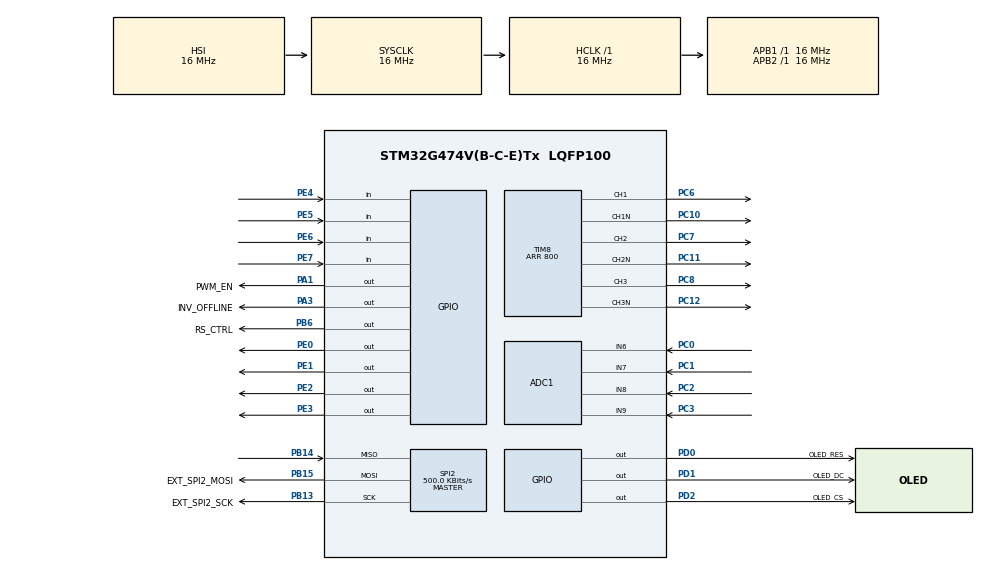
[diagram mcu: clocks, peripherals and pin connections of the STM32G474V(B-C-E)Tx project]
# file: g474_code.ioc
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ADC1.Channel-1\#ChannelRegularConversion=ADC_CHANNEL_6
ADC1.Channel-2\#ChannelRegularConversion=ADC_CHANNEL_7
ADC1.Channel-3\#ChannelRegularConversion=ADC_CHANNEL_8
ADC1.ClockPrescaler=ADC_CLOCK_SYNC_PCLK_DIV1
ADC1.ContinuousConvMode=DISABLE
ADC1.DMAContinuousRequests=ENABLE
ADC1.ExternalTrigConv=ADC_EXTERNALTRIG_T8_TRGO
ADC1.ExternalTrigConvEdge=ADC_EXTERNALTRIGCONVEDGE_RISING
ADC1.NbrOfConversion=3
ADC1.NbrOfConversionFlag=1
ADC1.OffsetNumber-1\#ChannelRegularConversion=ADC_OFFSET_NONE
ADC1.OffsetNumber-2\#ChannelRegularConversion=ADC_OFFSET_NONE
ADC1.OffsetNumber-3\#ChannelRegularConversion=ADC_OFFSET_NONE
ADC1.Rank-1\#ChannelRegularConversion=1
ADC1.Rank-2\#ChannelRegularConversion=2
ADC1.Rank-3\#ChannelRegularConversion=3
ADC1.SamplingTime-1\#ChannelRegularConversion=ADC_SAMPLETIME_47CYCLES_5
ADC1.SamplingTime-2\#ChannelRegularConversion=ADC_SAMPLETIME_47CYCLES_5
ADC1.SamplingTime-3\#ChannelRegularConversion=ADC_SAMPLETIME_47CYCLES_5
ADC1.master=1
Dma.ADC1.0.Direction=DMA_PERIPH_TO_MEMORY
Dma.ADC1.0.EventEnable=DISABLE
Dma.ADC1.0.Instance=DMA1_Channel1
Dma.ADC1.0.MemDataAlignment=DMA_MDATAALIGN_HALFWORD
Dma.ADC1.0.MemInc=DMA_MINC_ENABLE
Dma.ADC1.0.Mode=DMA_CIRCULAR
Dma.ADC1.0.PeriphDataAlignment=DMA_PDATAALIGN_HALFWORD
Dma.ADC1.0.PeriphInc=DMA_PINC_DISABLE
Dma.ADC1.0.Polarity=HAL_DMAMUX_REQ_GEN_RISING
Dma.ADC1.0.Priority=DMA_PRIORITY_LOW
Dma.ADC1.0.RequestNumber=1
Dma.ADC1.0.SignalID=NONE
Dma.ADC1.0.SyncEnable=DISABLE
Dma.ADC1.0.SyncPolarity=HAL_DMAMUX_SYNC_NO_EVENT
Dma.ADC1.0.SyncRequestNumber=1
Dma.ADC1.0.SyncSignalID=NONE
Dma.Request0=ADC1
Mcu.Family=STM32G4
Mcu.Name=STM32G474V(B-C-E)Tx
Mcu.Package=LQFP100
NVIC.ADC1_2_IRQn=true\:1\:0\:false\:false\:true\:false\:true\:true
NVIC.DMA1_Channel1_IRQn=true\:3\:0\:false\:false\:true\:false\:true\:true
NVIC.PriorityGroup=NVIC_PRIORITYGROUP_4
NVIC.TIM5_IRQn=true\:2\:0\:false\:false\:true\:false\:true\:true
PA1.GPIO_Label=PWM_EN
PA1.Signal=GPIO_Output
PA13.Mode=Serial_Wire
PA13.Signal=SYS_JTMS-SWDIO
PA14.Mode=Serial_Wire
PA14.Signal=SYS_JTCK-SWCLK
PA3.GPIO_Label=INV_OFFLINE
PA3.PinState=GPIO_PIN_SET
PA3.Signal=GPIO_Output
PB13.GPIO_Label=EXT_SPI2_SCK
PB13.Mode=Full_Duplex_Master
PB13.Signal=SPI2_SCK
PB14.Mode=Full_Duplex_Master
PB14.Signal=SPI2_MISO
PB15.GPIO_Label=EXT_SPI2_MOSI
PB15.Mode=Full_Duplex_Master
PB15.Signal=SPI2_MOSI
PB6.GPIO_Label=RS_CTRL
PB6.Signal=GPIO_Output
PC0.Mode=IN6-Single-Ended
PC0.Signal=ADC1_IN6
PC1.Mode=IN7-Single-Ended
PC1.Signal=ADC1_IN7
PC10.Mode=PWM Generation1 CH1 CH1N
PC10.Signal=TIM8_CH1N
PC11.Mode=PWM Generation2 CH2 CH2N
PC11.Signal=TIM8_CH2N
PC12.Mode=PWM Generation3 CH3 CH3N
PC12.Signal=TIM8_CH3N
PC14-OSC32_IN.Mode=LSE-External-Oscillator
PC14-OSC32_IN.Signal=RCC_OSC32_IN
PC15-OSC32_OUT.Mode=LSE-External-Oscillator
PC15-OSC32_OUT.Signal=RCC_OSC32_OUT
PC2.Mode=IN8-Single-Ended
PC2.Signal=ADC1_IN8
PC3.Mode=IN9-Single-Ended
PC3.Signal=ADC1_IN9
PC6.Signal=S_TIM8_CH1
PC7.Signal=S_TIM8_CH2
PC8.Signal=S_TIM8_CH3
PD0.GPIO_Label=OLED_RES
PD0.GPIO_PuPd=GPIO_PULLUP
PD0.GPIO_Speed=GPIO_SPEED_FREQ_VERY_HIGH
PD0.Signal=GPIO_Output
PD1.GPIO_Label=OLED_DC
PD1.GPIO_PuPd=GPIO_PULLUP
PD1.GPIO_Speed=GPIO_SPEED_FREQ_VERY_HIGH
PD1.Signal=GPIO_Output
PD2.GPIO_Label=OLED_CS
PD2.GPIO_PuPd=GPIO_PULLUP
PD2.GPIO_Speed=GPIO_SPEED_FREQ_VERY_HIGH
PD2.Signal=GPIO_Output
PE0.GPIO_ModeDefaultOutputPP=GPIO_MODE_OUTPUT_OD
PE0.PinState=GPIO_PIN_SET
PE0.Signal=GPIO_Output
PE1.GPIO_ModeDefaultOutputPP=GPIO_MODE_OUTPUT_OD
PE1.PinState=GPIO_PIN_SET
PE1.Signal=GPIO_Output
PE2.GPIO_ModeDefaultOutputPP=GPIO_MODE_OUTPUT_OD
PE2.PinState=GPIO_PIN_SET
PE2.Signal=GPIO_Output
PE3.GPIO_ModeDefaultOutputPP=GPIO_MODE_OUTPUT_OD
PE3.PinState=GPIO_PIN_SET
PE3.Signal=GPIO_Output
PE4.GPIO_PuPd=GPIO_PULLUP
PE4.Signal=GPIO_Input
PE5.GPIO_PuPd=GPIO_PULLUP
PE5.Signal=GPIO_Input
PE6.GPIO_PuPd=GPIO_PULLUP
PE6.Signal=GPIO_Input
PE7.GPIO_PuPd=GPIO_PULLUP
PE7.Signal=GPIO_Input
PF0-OSC_IN.Mode=HSE-External-Oscillator
PF0-OSC_IN.Signal=RCC_OSC_IN
PF1-OSC_OUT.Mode=HSE-External-Oscillator
PF1-OSC_OUT.Signal=RCC_OSC_OUT
ProjectManager.HeapSize=0x200
ProjectManager.StackSize=0x400
ProjectManager.TargetToolchain=MDK-ARM V5.32
RCC.ADC12Freq_Value=16000000
RCC.ADC345Freq_Value=16000000
RCC.AHBFreq_Value=16000000
RCC.APB1Freq_Value=16000000
RCC.APB1TimFreq_Value=16000000
RCC.APB2Freq_Value=16000000
RCC.APB2TimFreq_Value=16000000
RCC.CortexFreq_Value=16000000
RCC.EXTERNAL_CLOCK_VALUE=12288000
RCC.HCLKFreq_Value=16000000
RCC.HSE_VALUE=8000000
RCC.HSI48_VALUE=48000000
RCC.HSI_VALUE=16000000
RCC.PLLM=RCC_PLLM_DIV4
RCC.PLLN=85
RCC.SYSCLKFreq_VALUE=16000000
RCC.USBFreq_Value=170000000
RCC.VCOOutputFreq_Value=340000000
SH.S_TIM8_CH1.0=TIM8_CH1,PWM Generation1 CH1 CH1N
SH.S_TIM8_CH2.0=TIM8_CH2,PWM Generation2 CH2 CH2N
SH.S_TIM8_CH3.0=TIM8_CH3,PWM Generation3 CH3 CH3N
SPI2.BaudRatePrescaler=SPI_BAUDRATEPRESCALER_32
SPI2.CLKPhase=SPI_PHASE_1EDGE
SPI2.CLKPolarity=SPI_POLARITY_LOW
SPI2.CalculateBaudRate=500.0 KBits/s
SPI2.DataSize=SPI_DATASIZE_8BIT
SPI2.Direction=SPI_DIRECTION_2LINES
SPI2.Mode=SPI_MODE_MASTER
SPI2.VirtualType=VM_MASTER
TIM5.AutoReloadPreload=TIM_AUTORELOAD_PRELOAD_ENABLE
TIM5.Period=888
TIM5.Prescaler=0
TIM8.AutoReloadPreload=TIM_AUTORELOAD_PRELOAD_ENABLE
TIM8.Channel-PWM\ Generation1\ CH1\ CH1N=TIM_CHANNEL_1
TIM8.Channel-PWM\ Generation2\ CH2\ CH2N=TIM_CHANNEL_2
TIM8.Channel-PWM\ Generation3\ CH3\ CH3N=TIM_CHANNEL_3
TIM8.CounterMode=TIM_COUNTERMODE_CENTERALIGNED1
TIM8.DeadTime=5
TIM8.DeadTimePreload=DISABLE
TIM8.OffStateIDLEMode=TIM_OSSI_ENABLE
TIM8.OffStateRunMode=TIM_OSSR_ENABLE
TIM8.PeriodNoDither=800
TIM8.PulseNoDither_1=400
TIM8.PulseNoDither_2=400
TIM8.PulseNoDither_3=400
TIM8.TIM_MasterOutputTrigger=TIM_TRGO_UPDATE
VP_SYS_VS_DBSignals.Mode=DisableDeadBatterySignals
VP_TIM5_VS_ClockSourceINT.Mode=Internal
VP_TIM8_VS_ClockSourceINT.Mode=Internal
board=custom

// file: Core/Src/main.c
/* USER CODE BEGIN Header */
/**
  ******************************************************************************
  * @file           : main.c
  * @brief          : Main program body
  ******************************************************************************
  * @attention
  *
  * Copyright (c) 2026 STMicroelectronics.
  * All rights reserved.
  *
  * This software is licensed under terms that can be found in the LICENSE file
  * in the root directory of this software component.
  * If no LICENSE file comes with this software, it is provided AS-IS.
  *
  ******************************************************************************
  */
/* USER CODE END Header */
#include "main.h"

/* USER CODE BEGIN Includes */
#include "oled.h"
#include "Keyboard.h"
#include "Bipolar_PWM.h"
#include "inverter_control_tools.h"
#include "inverter_menu.h"
#include "inverter_sampling.h"

/* USER CODE END Includes */

ADC_HandleTypeDef hadc1;
DMA_HandleTypeDef hdma_adc1;

SPI_HandleTypeDef hspi2;

TIM_HandleTypeDef htim5;
TIM_HandleTypeDef htim8;

void SystemClock_Config(void);
static void MX_GPIO_Init(void);
static void MX_DMA_Init(void);
static void MX_ADC1_Init(void);
static void MX_TIM5_Init(void);
static void MX_SPI2_Init(void);
static void MX_TIM8_Init(void);

int main(void)
{

  /* USER CODE BEGIN 1 */
  char key;
  uint32_t standby_tick = 0U;

  /* USER CODE END 1 */

  /* MCU Configuration--------------------------------------------------------*/

  /* Reset of all peripherals, Initializes the Flash interface and the Systick. */
  HAL_Init();

  /* Configure the system clock */
  SystemClock_Config();

  /* Initialize all configured peripherals */
  MX_GPIO_Init();
  MX_DMA_Init();
  MX_ADC1_Init();
  MX_TIM5_Init();
  MX_SPI2_Init();
  MX_TIM8_Init();
  /* USER CODE BEGIN 2 */

  OLED_Init();
  Keyboard_Init();

  /* 先校准并就绪 ADC DMA，再启动 TIM8 触发和调制，保持输出关闭。 */
  if (INV_SamplingStart() != HAL_OK) Error_Handler();
  if (INV_Init() != HAL_OK) Error_Handler();

  /* 欢迎界面（替代原工程 gImage_welcome 开机图） */
  OLED_Clear();
  OLED_ShowString(16, 8,  "INVERTER", 16);
  OLED_ShowString(16, 32, "G474 PORT", 16);
  OLED_Refresh();
  HAL_Delay(2000);

  INV_ShowStandby();
  standby_tick = HAL_GetTick();

  /* USER CODE END 2 */

  /* Infinite loop */
  while (1)
  {

    /* USER CODE BEGIN 3 */
    key = Keyboard_GetKey();
    if (key == 'A')                 /* 功率输出开关 */
    {
      if (INV_PwmFlag) INV_OutputDisable();
      else             INV_OutputEnable();
      INV_ShowStandby();
      standby_tick = HAL_GetTick();
    }
    else if (key == 'C')
    {
      INV_OutputDisable();
      INV_ShowStandby();
    }
    else if (key == 'D')            /* 进入参数菜单 */
    {
      INV_Menu_Run();
      INV_ShowStandby();
      standby_tick = HAL_GetTick();
    }

    /* 定时刷新输出命令和频率、幅度。 */
    if (HAL_GetTick() - standby_tick >= 200U)
    {
      standby_tick = HAL_GetTick();
      INV_ShowStandby();
    }
  }
  /* USER CODE END 3 */
}

void SystemClock_Config(void)
{
  RCC_OscInitTypeDef RCC_OscInitStruct = {0};
  RCC_ClkInitTypeDef RCC_ClkInitStruct = {0};

  /** Configure the main internal regulator output voltage
  */
  HAL_PWREx_ControlVoltageScaling(PWR_REGULATOR_VOLTAGE_SCALE1);

  /** Initializes the RCC Oscillators according to the specified parameters
  * in the RCC_OscInitTypeDef structure.
  */
  RCC_OscInitStruct.OscillatorType = RCC_OSCILLATORTYPE_HSI;
  RCC_OscInitStruct.HSIState = RCC_HSI_ON;
  RCC_OscInitStruct.HSICalibrationValue = RCC_HSICALIBRATION_DEFAULT;
  RCC_OscInitStruct.PLL.PLLState = RCC_PLL_NONE;
  if (HAL_RCC_OscConfig(&RCC_OscInitStruct) != HAL_OK)
  {
    Error_Handler();
  }

  /** Initializes the CPU, AHB and APB buses clocks
  */
  RCC_ClkInitStruct.ClockType = RCC_CLOCKTYPE_HCLK|RCC_CLOCKTYPE_SYSCLK
                              |RCC_CLOCKTYPE_PCLK1|RCC_CLOCKTYPE_PCLK2;
  RCC_ClkInitStruct.SYSCLKSource = RCC_SYSCLKSOURCE_HSI;
  RCC_ClkInitStruct.AHBCLKDivider = RCC_SYSCLK_DIV1;
  RCC_ClkInitStruct.APB1CLKDivider = RCC_HCLK_DIV1;
  RCC_ClkInitStruct.APB2CLKDivider = RCC_HCLK_DIV1;

  if (HAL_RCC_ClockConfig(&RCC_ClkInitStruct, FLASH_LATENCY_0) != HAL_OK)
  {
    Error_Handler();
  }
}

static void MX_ADC1_Init(void)
{

  ADC_MultiModeTypeDef multimode = {0};
  ADC_ChannelConfTypeDef sConfig = {0};

  /** Common config
  */
  hadc1.Instance = ADC1;
  hadc1.Init.ClockPrescaler = ADC_CLOCK_SYNC_PCLK_DIV1;
  hadc1.Init.Resolution = ADC_RESOLUTION_12B;
  hadc1.Init.DataAlign = ADC_DATAALIGN_RIGHT;
  hadc1.Init.GainCompensation = 0;
  hadc1.Init.ScanConvMode = ADC_SCAN_ENABLE;
  hadc1.Init.EOCSelection = ADC_EOC_SINGLE_CONV;
  hadc1.Init.LowPowerAutoWait = DISABLE;
  hadc1.Init.ContinuousConvMode = DISABLE;
  hadc1.Init.NbrOfConversion = 3;
  hadc1.Init.DiscontinuousConvMode = DISABLE;
  hadc1.Init.ExternalTrigConv = ADC_EXTERNALTRIG_T8_TRGO;
  hadc1.Init.ExternalTrigConvEdge = ADC_EXTERNALTRIGCONVEDGE_RISING;
  hadc1.Init.DMAContinuousRequests = ENABLE;
  hadc1.Init.Overrun = ADC_OVR_DATA_PRESERVED;
  hadc1.Init.OversamplingMode = DISABLE;
  if (HAL_ADC_Init(&hadc1) != HAL_OK)
  {
    Error_Handler();
  }

  /** Configure the ADC multi-mode
  */
  multimode.Mode = ADC_MODE_INDEPENDENT;
  if (HAL_ADCEx_MultiModeConfigChannel(&hadc1, &multimode) != HAL_OK)
  {
    Error_Handler();
  }

  /** Configure Regular Channel
  */
  sConfig.Channel = ADC_CHANNEL_6;
  sConfig.Rank = ADC_REGULAR_RANK_1;
  sConfig.SamplingTime = ADC_SAMPLETIME_47CYCLES_5;
  sConfig.SingleDiff = ADC_SINGLE_ENDED;
  sConfig.OffsetNumber = ADC_OFFSET_NONE;
  sConfig.Offset = 0;
  if (HAL_ADC_ConfigChannel(&hadc1, &sConfig) != HAL_OK)
  {
    Error_Handler();
  }

  /** Configure Regular Channel
  */
  sConfig.Channel = ADC_CHANNEL_7;
  sConfig.Rank = ADC_REGULAR_RANK_2;
  if (HAL_ADC_ConfigChannel(&hadc1, &sConfig) != HAL_OK)
  {
    Error_Handler();
  }

  /** Configure Regular Channel
  */
  sConfig.Channel = ADC_CHANNEL_8;
  sConfig.Rank = ADC_REGULAR_RANK_3;
  if (HAL_ADC_ConfigChannel(&hadc1, &sConfig) != HAL_OK)
  {
    Error_Handler();
  }
  /* USER CODE BEGIN ADC1_Init 2 */

  HAL_NVIC_SetPriority(ADC1_2_IRQn, 1, 0);
  HAL_NVIC_EnableIRQ(ADC1_2_IRQn);

  /* USER CODE END ADC1_Init 2 */

}

static void MX_SPI2_Init(void)
{

  /* SPI2 parameter configuration*/
  hspi2.Instance = SPI2;
  hspi2.Init.Mode = SPI_MODE_MASTER;
  hspi2.Init.Direction = SPI_DIRECTION_2LINES;
  hspi2.Init.DataSize = SPI_DATASIZE_8BIT;
  hspi2.Init.CLKPolarity = SPI_POLARITY_LOW;
  hspi2.Init.CLKPhase = SPI_PHASE_1EDGE;
  hspi2.Init.NSS = SPI_NSS_SOFT;
  hspi2.Init.BaudRatePrescaler = SPI_BAUDRATEPRESCALER_32;
  hspi2.Init.FirstBit = SPI_FIRSTBIT_MSB;
  hspi2.Init.TIMode = SPI_TIMODE_DISABLE;
  hspi2.Init.CRCCalculation = SPI_CRCCALCULATION_DISABLE;
  hspi2.Init.CRCPolynomial = 7;
  hspi2.Init.CRCLength = SPI_CRC_LENGTH_DATASIZE;
  hspi2.Init.NSSPMode = SPI_NSS_PULSE_ENABLE;
  if (HAL_SPI_Init(&hspi2) != HAL_OK)
  {
    Error_Handler();
  }

}

static void MX_TIM5_Init(void)
{

  TIM_ClockConfigTypeDef sClockSourceConfig = {0};
  TIM_MasterConfigTypeDef sMasterConfig = {0};

  htim5.Instance = TIM5;
  htim5.Init.Prescaler = 0;
  htim5.Init.CounterMode = TIM_COUNTERMODE_UP;
  htim5.Init.Period = 888;
  htim5.Init.ClockDivision = TIM_CLOCKDIVISION_DIV1;
  htim5.Init.AutoReloadPreload = TIM_AUTORELOAD_PRELOAD_ENABLE;
  if (HAL_TIM_Base_Init(&htim5) != HAL_OK)
  {
    Error_Handler();
  }
  sClockSourceConfig.ClockSource = TIM_CLOCKSOURCE_INTERNAL;
  if (HAL_TIM_ConfigClockSource(&htim5, &sClockSourceConfig) != HAL_OK)
  {
    Error_Handler();
  }
  sMasterConfig.MasterOutputTrigger = TIM_TRGO_RESET;
  sMasterConfig.MasterSlaveMode = TIM_MASTERSLAVEMODE_DISABLE;
  if (HAL_TIMEx_MasterConfigSynchronization(&htim5, &sMasterConfig) != HAL_OK)
  {
    Error_Handler();
  }

}

static void MX_TIM8_Init(void)
{

  TIM_ClockConfigTypeDef sClockSourceConfig = {0};
  TIM_MasterConfigTypeDef sMasterConfig = {0};
  TIM_OC_InitTypeDef sConfigOC = {0};
  TIM_BreakDeadTimeConfigTypeDef sBreakDeadTimeConfig = {0};

  htim8.Instance = TIM8;
  htim8.Init.Prescaler = 0;
  htim8.Init.CounterMode = TIM_COUNTERMODE_CENTERALIGNED1;
  htim8.Init.Period = 800;
  htim8.Init.ClockDivision = TIM_CLOCKDIVISION_DIV1;
  htim8.Init.RepetitionCounter = 0;
  htim8.Init.AutoReloadPreload = TIM_AUTORELOAD_PRELOAD_ENABLE;
  if (HAL_TIM_Base_Init(&htim8) != HAL_OK)
  {
    Error_Handler();
  }
  sClockSourceConfig.ClockSource = TIM_CLOCKSOURCE_INTERNAL;
  if (HAL_TIM_ConfigClockSource(&htim8, &sClockSourceConfig) != HAL_OK)
  {
    Error_Handler();
  }
  if (HAL_TIM_PWM_Init(&htim8) != HAL_OK)
  {
    Error_Handler();
  }
  sMasterConfig.MasterOutputTrigger = TIM_TRGO_UPDATE;
  sMasterConfig.MasterOutputTrigger2 = TIM_TRGO2_RESET;
  sMasterConfig.MasterSlaveMode = TIM_MASTERSLAVEMODE_DISABLE;
  if (HAL_TIMEx_MasterConfigSynchronization(&htim8, &sMasterConfig) != HAL_OK)
  {
    Error_Handler();
  }
  sConfigOC.OCMode = TIM_OCMODE_PWM1;
  sConfigOC.Pulse = 400;
  sConfigOC.OCPolarity = TIM_OCPOLARITY_HIGH;
  sConfigOC.OCNPolarity = TIM_OCNPOLARITY_HIGH;
  sConfigOC.OCFastMode = TIM_OCFAST_DISABLE;
  sConfigOC.OCIdleState = TIM_OCIDLESTATE_RESET;
  sConfigOC.OCNIdleState = TIM_OCNIDLESTATE_RESET;
  if (HAL_TIM_PWM_ConfigChannel(&htim8, &sConfigOC, TIM_CHANNEL_1) != HAL_OK)
  {
    Error_Handler();
  }
  if (HAL_TIM_PWM_ConfigChannel(&htim8, &sConfigOC, TIM_CHANNEL_2) != HAL_OK)
  {
    Error_Handler();
  }
  if (HAL_TIM_PWM_ConfigChannel(&htim8, &sConfigOC, TIM_CHANNEL_3) != HAL_OK)
  {
    Error_Handler();
  }
  sBreakDeadTimeConfig.OffStateRunMode = TIM_OSSR_ENABLE;
  sBreakDeadTimeConfig.OffStateIDLEMode = TIM_OSSI_ENABLE;
  sBreakDeadTimeConfig.LockLevel = TIM_LOCKLEVEL_OFF;
  sBreakDeadTimeConfig.DeadTime = 5;
  sBreakDeadTimeConfig.BreakState = TIM_BREAK_DISABLE;
  sBreakDeadTimeConfig.BreakPolarity = TIM_BREAKPOLARITY_HIGH;
  sBreakDeadTimeConfig.BreakFilter = 0;
  sBreakDeadTimeConfig.BreakAFMode = TIM_BREAK_AFMODE_INPUT;
  sBreakDeadTimeConfig.Break2State = TIM_BREAK2_DISABLE;
  sBreakDeadTimeConfig.Break2Polarity = TIM_BREAK2POLARITY_HIGH;
  sBreakDeadTimeConfig.Break2Filter = 0;
  sBreakDeadTimeConfig.Break2AFMode = TIM_BREAK_AFMODE_INPUT;
  sBreakDeadTimeConfig.AutomaticOutput = TIM_AUTOMATICOUTPUT_DISABLE;
  if (HAL_TIMEx_ConfigBreakDeadTime(&htim8, &sBreakDeadTimeConfig) != HAL_OK)
  {
    Error_Handler();
  }
  HAL_TIM_MspPostInit(&htim8);

}

static void MX_DMA_Init(void)
{

  /* DMA controller clock enable */
  __HAL_RCC_DMAMUX1_CLK_ENABLE();
  __HAL_RCC_DMA1_CLK_ENABLE();

  /* DMA interrupt init */
  /* DMA1_Channel1_IRQn interrupt configuration */
  HAL_NVIC_SetPriority(DMA1_Channel1_IRQn, 3, 0);
  HAL_NVIC_EnableIRQ(DMA1_Channel1_IRQn);

}

static void MX_GPIO_Init(void)
{
  GPIO_InitTypeDef GPIO_InitStruct = {0};

  /* GPIO Ports Clock Enable */
  __HAL_RCC_GPIOE_CLK_ENABLE();
  __HAL_RCC_GPIOC_CLK_ENABLE();
  __HAL_RCC_GPIOF_CLK_ENABLE();
  __HAL_RCC_GPIOA_CLK_ENABLE();
  __HAL_RCC_GPIOB_CLK_ENABLE();
  __HAL_RCC_GPIOD_CLK_ENABLE();

  /*Configure GPIO pin Output Level */
  HAL_GPIO_WritePin(GPIOE, GPIO_PIN_2|GPIO_PIN_3|GPIO_PIN_0|GPIO_PIN_1, GPIO_PIN_SET);

  /*Configure GPIO pin Output Level */
  HAL_GPIO_WritePin(PWM_EN_GPIO_Port, PWM_EN_Pin, GPIO_PIN_RESET);

  /*Configure GPIO pin Output Level */
  HAL_GPIO_WritePin(INV_OFFLINE_GPIO_Port, INV_OFFLINE_Pin, GPIO_PIN_SET);

  /*Configure GPIO pin Output Level */
  HAL_GPIO_WritePin(GPIOD, OLED_RES_Pin|OLED_DC_Pin|OLED_CS_Pin, GPIO_PIN_RESET);

  /*Configure GPIO pin Output Level */
  HAL_GPIO_WritePin(RS_CTRL_GPIO_Port, RS_CTRL_Pin, GPIO_PIN_RESET);

  /*Configure GPIO pins : PE2 PE3 PE0 PE1 */
  GPIO_InitStruct.Pin = GPIO_PIN_2|GPIO_PIN_3|GPIO_PIN_0|GPIO_PIN_1;
  GPIO_InitStruct.Mode = GPIO_MODE_OUTPUT_OD;
  GPIO_InitStruct.Pull = GPIO_NOPULL;
  GPIO_InitStruct.Speed = GPIO_SPEED_FREQ_LOW;
  HAL_GPIO_Init(GPIOE, &GPIO_InitStruct);

  /*Configure GPIO pins : PE4 PE5 PE6 PE7 */
  GPIO_InitStruct.Pin = GPIO_PIN_4|GPIO_PIN_5|GPIO_PIN_6|GPIO_PIN_7;
  GPIO_InitStruct.Mode = GPIO_MODE_INPUT;
  GPIO_InitStruct.Pull = GPIO_PULLUP;
  HAL_GPIO_Init(GPIOE, &GPIO_InitStruct);

  /*Configure GPIO pins : PWM_EN_Pin INV_OFFLINE_Pin */
  GPIO_InitStruct.Pin = PWM_EN_Pin|INV_OFFLINE_Pin;
  GPIO_InitStruct.Mode = GPIO_MODE_OUTPUT_PP;
  GPIO_InitStruct.Pull = GPIO_NOPULL;
  GPIO_InitStruct.Speed = GPIO_SPEED_FREQ_LOW;
  HAL_GPIO_Init(GPIOA, &GPIO_InitStruct);

  /*Configure GPIO pins : OLED_RES_Pin OLED_DC_Pin OLED_CS_Pin */
  GPIO_InitStruct.Pin = OLED_RES_Pin|OLED_DC_Pin|OLED_CS_Pin;
  GPIO_InitStruct.Mode = GPIO_MODE_OUTPUT_PP;
  GPIO_InitStruct.Pull = GPIO_PULLUP;
  GPIO_InitStruct.Speed = GPIO_SPEED_FREQ_VERY_HIGH;
  HAL_GPIO_Init(GPIOD, &GPIO_InitStruct);

  /*Configure GPIO pin : RS_CTRL_Pin */
  GPIO_InitStruct.Pin = RS_CTRL_Pin;
  GPIO_InitStruct.Mode = GPIO_MODE_OUTPUT_PP;
  GPIO_InitStruct.Pull = GPIO_NOPULL;
  GPIO_InitStruct.Speed = GPIO_SPEED_FREQ_LOW;
  HAL_GPIO_Init(RS_CTRL_GPIO_Port, &GPIO_InitStruct);

}

/* USER CODE BEGIN 4 */
/* Called from SysTick_Handler every 1 ms; keep SPI/display work in main. */
void Keyboard_TickISR(void)
{
  Keyboard_ScanISR();
}

/* USER CODE END 4 */

void Error_Handler(void)
{
  /* USER CODE BEGIN Error_Handler_Debug */
  INV_OutputDisable();
  /* User can add his own implementation to report the HAL error return state */
  __disable_irq();
  while (1)
  {
  }
  /* USER CODE END Error_Handler_Debug */
}
